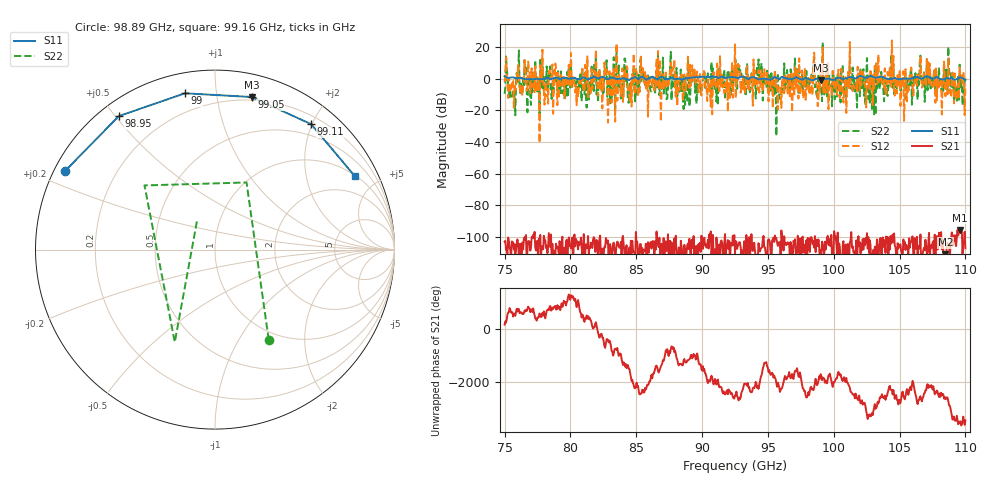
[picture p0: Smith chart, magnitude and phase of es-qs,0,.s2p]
!Created with skrf (http://scikit-rf.org).
# GHz S RI R 50.0
!freq ReS11 ImS11 ReS21 ImS21 ReS12 ImS12 ReS22 ImS22
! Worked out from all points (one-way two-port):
!   647 points, 75 GHz to 110 GHz, reference 50 ohm
!   highest |S21| = -95.69 dB at 109.6 GHz (marker M1); lowest = -132.7 dB at 108.5 GHz (marker M2)
!   lowest |S11| = -1.2 dB at 99.05 GHz (marker M3), VSWR 14.90, Z = 8.68 + j62.6 ohm
!   |S11| at or under -10 dB: nowhere
!   |S22| runs from -36.3 to 22.9 dB; largest |S21 - S12| = 16
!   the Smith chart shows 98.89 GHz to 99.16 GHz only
!   S11 on the Smith chart (normalised r, x): 98.89 GHz: 0.03, +0.24; 98.95 GHz: 0.05, +0.51; 99 GHz: 0.10, +0.82; 99.05 GHz: 0.17, +1.25; 99.11 GHz: 0.32, +1.99; 99.16 GHz: 1.05, +3.79
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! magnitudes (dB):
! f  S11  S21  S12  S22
! 75 GHz  1.5  -103.0  -2.2  -9.7
! 78.15 GHz  0.2  -107.0  -2.0  -4.2
! 78.47 GHz  -0.4  -106.5  1.1  7.8
! 80.85 GHz  0.2  -107.1  3.2  -14.3
! 86.7 GHz  0.1  -106.4  -6.3  4.0
! 87.73 GHz  0.4  -110.6  5.0  0.7
! 88.71 GHz  -0.1  -109.1  -0.8  -16.6
! 92.5 GHz  0.7  -110.8  21.6  12.2
! 94.34 GHz  -0.5  -108.1  -8.8  -2.3
! 95.8 GHz  0.2  -104.2  -5.8  -10.3
! 98.35 GHz  -1.1  -101.7  -10.4  0.3
! 98.89 GHz  -0.5  -106.5  -2.8  -4.7
! 98.95 GHz  -0.8  -118.0  -8.5  -7.7
! 99 GHz  -1.0  -108.6  5.2  -5.5
! 99.05 GHz  -1.2  -111.2  4.5  -5.0
! 99.11 GHz  -1.1  -103.0  3.0  -14.3
! 99.16 GHz  -1.1  -105.2  19.6  22.9
! 100.8 GHz  0.1  -112.9  -6.1  -10.4
! 104.2 GHz  -0.4  -101.5  -2.8  -5.2
! 108.5 GHz  -0.2  -132.7  -11.1  -2.7
! 109.6 GHz  0.8  -95.7  7.4  8.8
! 110 GHz  -0.7  -107.3  -4.1  -0.1
